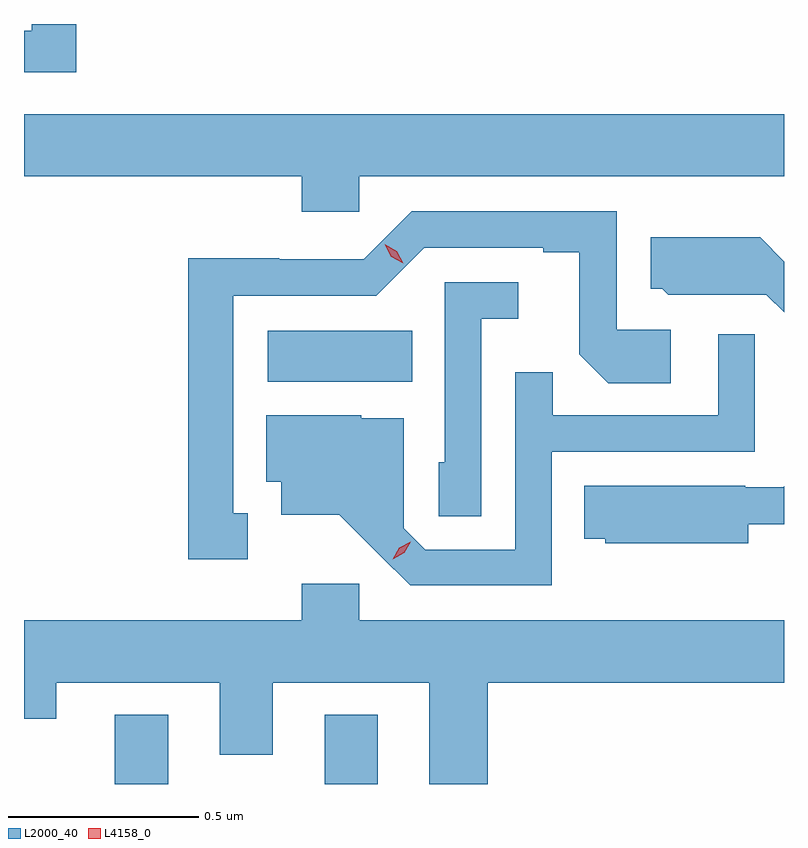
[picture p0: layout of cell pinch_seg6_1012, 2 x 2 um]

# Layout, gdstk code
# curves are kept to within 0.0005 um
import gdstk
lib = gdstk.Library(unit=1e-6, precision=1e-09)
def R(c, l, rs):  # rectangles x0, y0, x1, y1
    for r in rs: c.add(gdstk.rectangle(r[:2], r[2:], *l))
def P(c, l, *ps):  # polygons
    for p in ps: c.add(gdstk.Polygon(p, *l))
L2000_40 = (2000, 40)
L4158_0 = (4158, 0)

pinch_seg6_1012 = lib.new_cell('pinch_seg6_1012')
R(pinch_seg6_1012, L2000_40, [(347.651,927.089,347.791,927.271), (348.203,927.089,348.343,927.271), (348.054,928.148,348.434,928.282)])
P(pinch_seg6_1012, L2000_40, [(347.549,929.089),(347.432,929.089),(347.432,929.071),(347.412,929.071),(347.412,928.962),(347.549,928.962)],
  [(348.294,928.688),(349.412,928.688),(349.412,928.852),(347.412,928.852),(347.412,928.688),(348.143,928.688),(348.143,928.595),(348.294,928.595)],
  [(348.001,927.801),(347.962,927.801),(347.962,928.374),(348.339,928.374),(348.465,928.5),(348.779,928.5),(348.779,928.488),(348.873,928.488),(348.873,928.22),(348.949,928.144),(349.114,928.144),(349.114,928.284),(348.972,928.284),(348.972,928.596),(348.432,928.596),(348.306,928.47),(348.084,928.47),(348.084,928.472),(347.844,928.472),(347.844,927.681),(348.001,927.681)],
  [(349.412,928.464),(349.349,928.528),(349.061,928.528),(349.061,928.392),(349.092,928.392),(349.108,928.376),(349.242,928.376),(349.242,928.377),(349.365,928.377),(349.412,928.33)],
  [(348.615,928.313),(348.712,928.313),(348.712,928.41),(348.519,928.41),(348.519,927.936),(348.504,927.936),(348.504,927.793),(348.615,927.793)],
  [(348.801,927.963),(349.335,927.963),(349.335,928.273),(349.239,928.273),(349.239,928.059),(348.803,928.059),(348.803,928.172),(348.705,928.172),(348.705,927.705),(348.468,927.705),(348.411,927.762),(348.411,928.051),(348.3,928.051),(348.3,928.06),(348.05,928.06),(348.05,927.884),(348.089,927.884),(348.089,927.797),(348.241,927.797),(348.428,927.612),(348.801,927.612)],
  [(349.318,927.773),(349.412,927.773),(349.412,927.872),(349.41,927.87),(349.31,927.87),(349.31,927.874),(348.886,927.874),(348.886,927.734),(348.942,927.734),(348.942,927.722),(349.318,927.722)],
  [(348.632,927.356),(349.412,927.356),(349.412,927.52),(348.294,927.52),(348.294,927.616),(348.143,927.616),(348.143,927.52),(347.412,927.52),(347.412,927.261),(347.497,927.261),(347.497,927.356),(347.927,927.356),(347.927,927.166),(348.067,927.166),(348.067,927.356),(348.479,927.356),(348.479,927.089),(348.632,927.089)])
P(pinch_seg6_1012, L4158_0, [(348.382,927.681),(348.382,927.681),(348.399,927.711),(348.43,927.727),(348.43,927.727),(348.43,927.727),(348.413,927.697),(348.382,927.681)],
  [(348.41,928.459),(348.378,928.477),(348.361,928.51),(348.361,928.51),(348.361,928.51),(348.393,928.491),(348.41,928.459),(348.41,928.459)])

lib.write_gds('pinch_seg6_1012.gds')
